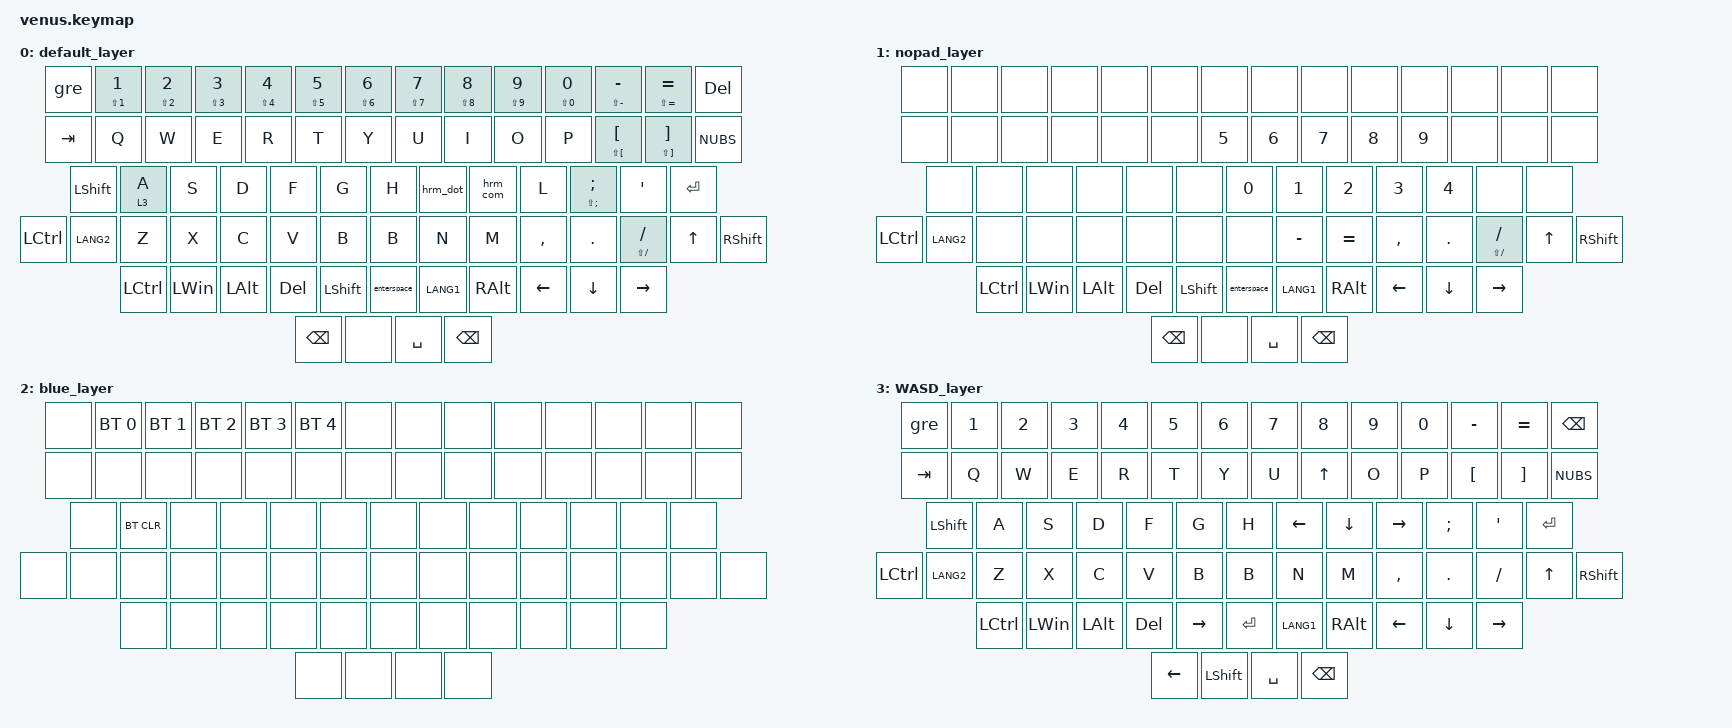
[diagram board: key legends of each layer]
#include <behaviors.dtsi>
#include <dt-bindings/zmk/keys.h>
#include <dt-bindings/zmk/bt.h>
#include <dt-bindings/zmk/outputs.h>

#define DEFAULT 0

&mt {
    tapping-term-ms = <140>;
};

&lt {
    tapping-term-ms = <200>;
};

/ { 
combos {
    compatible = "zmk,combos";
        combo_space {
            timeout-ms = <50>;
            key-positions = <61 70>;
            bindings = <&kp SPACE>;
        };
        combo_bt {
            timeout-ms = <50>;
            key-positions = <0 14>;
            bindings = <&tog 2>;
        };
        combo_Rpara {
            timeout-ms = <50>;
            key-positions = <31 32>;
            bindings = <&kp RPAR>;
        };
        combo_hash {
            timeout-ms = <50>;
            key-positions = <16 17>;
            bindings = <&hashdash>;
        };
        combo_Lpara {
            timeout-ms = <50>;
            key-positions = <29 30>;
            bindings = <&kp LPAR>;
        };
        combo_num {
            timeout-ms = <50>;
            key-positions = <30 31>;
            bindings = <&mo 1>;
        };
        hr_space {
            timeout-ms = <50>;
            key-positions = <35 36>;
            bindings = <&kp SPACE>;
        };
        hr_enter {
            timeout-ms = <50>;
            key-positions = <37 38>;
            bindings = <&kp ENTER>;
        };
        hr2_enter {
            timeout-ms = <50>;
            key-positions = <17 18>;
            bindings = <&kp ENTER>;
        };
        hr_bkps {
            timeout-ms = <50>;
            key-positions = <36 37>;
            bindings = <&thumblang>;
        };
        hr_shft {
            timeout-ms = <50>;
            key-positions = <18 19>;
            bindings = <&sk LSHFT>;
        };
        hr_lang1 {
            timeout-ms = <50>;
            key-positions = <21 22>;
            bindings = <&kp LANG1>;
        };
        hr2_lang1 {
            timeout-ms = <50>;
            key-positions = <36 61>;
            bindings = <&kp LANG1>;
        };
    };               


behaviors {
    gre: grave_esc {
            compatible = "zmk,behavior-tap-dance";
            label = "TAP_DANCE";
            #binding-cells = <0>;
            tapping-term-ms = <140>;
            bindings = <&mt LS(GRAVE) GRAVE>, <&kp ESC>;
        };
    enterspace: enterspace {
            compatible = "zmk,behavior-tap-dance";
            label = "TAP_DANCE_MOD_TAP";
            #binding-cells = <0>;
            tapping-term-ms = <150>;
            bindings = <&spaceback>, <&kp ENTER>;
        };
    spaceback: spaceback {
            compatible = "zmk,behavior-mod-morph";
            label = "spaceback";
            #binding-cells = <0>;
            bindings = <&kp SPACE>, <&mt LC(BACKSPACE) BACKSPACE>;
            mods = <MOD_LSFT>;
        };          
    hashdash: hash_dash {
            compatible = "zmk,behavior-tap-dance";
            label = "hashdash";
            #binding-cells = <0>;
            tapping-term-ms = <250>;
            bindings = <&kp HASH>, <&kp MINUS>;
        };
    hrm_dot: jtodot {
            compatible = "zmk,behavior-tap-dance";
            label = "jtodot";
            #binding-cells = <0>;
            tapping-term-ms = <250>;
            bindings = <&kp J>, <&kp DOT>;
        };
    hrm_com: ktocom {
            compatible = "zmk,behavior-tap-dance";
            label = "ktocom";
            #binding-cells = <0>;
            tapping-term-ms = <250>;
            bindings = <&kp K>, <&kp COMMA>;
        };
    hrm_lang1: ftolang {
            compatible = "zmk,behavior-tap-dance";
            label = "ftolang";
            #binding-cells = <0>;
            tapping-term-ms = <200>;
            bindings = <&kp H>, <&kp LANG1>;
        };    
    thumblang: thumblang {
            compatible = "zmk,behavior-mod-morph";
            label = "thumblang";
            #binding-cells = <0>;
            bindings = <&kp BACKSPACE>, <&kp DELETE>;
            mods = <MOD_LSFT>;
        };   
    hotab: behavior_hotab {
            compatible = "zmk,behavior-hold-tap";
            label = "hotab";
            #binding-cells = <2>;
            flavor = "tap-preferred";
            tapping-term-ms = <150>;
            bindings = <&kp>, <&kp>;
        };
    };

    keymap {
        compatible = "zmk,keymap";
        default_layer {
            bindings = <
&gre         &mt LS(N1) N1     &mt LS(N2) N2    &mt LS(N3) N3   &mt LS(N4) N4   &mt LS(N5) N5                         &mt LS(N6) N6     &mt LS(N7) N7    &mt LS(N8) N8   &mt LS(N9) N9     &mt LS(N0) N0    &mt LS(MINUS) MINUS  &mt LS(EQUAL) EQUAL  &kp DELETE
&kp TAB      &kp Q     &kp W     &kp E     &kp R     &kp T                           &kp Y      &kp U     &kp I    &kp O      &kp P      &mt LS(LBKT)  LBKT    &mt LS(RBKT) RBKT  &kp NUBS
&kp LSHFT    &lt 3 A      &kp S     &kp D  &kp F   &kp G                          &kp H      &hrm_dot     &hrm_com    &kp L      &mt LS(SEMI) SEMI   &kp SQT    &kp ENTER
&kp LCTRL    &kp LANG2  &kp Z     &kp X    &kp C    &kp V         &kp B         &kp B      &kp N     &kp M    &kp COMMA  &kp DOT   &mt LS(SLASH) SLASH   &kp UP     &kp RSHFT
&kp LCTRL    &kp LWIN   &kp LALT                    &kp DELETE     &kp LSHFT       &enterspace &kp LANG1         &kp RALT   &kp LEFT  &kp DOWN   &kp RIGHT
                                                    &kp BACKSPACE     &none        &kp SPACE  &kp BACKSPACE
            >;
        };

        nopad_layer {
            bindings = <
&none     &none     &none     &none    &none   &none                                                     &none    &none   &none   &none    &none   &none   &none   &none
&none     &none     &none    &none   &none   &none                                                           &kp N5     &kp N6  &kp N7 &kp N8   &kp N9    &none   &none   &none
&none    &none     &none    &none   &none   &none                                                       &kp N0    &kp N1    &kp N2   &kp N3   &kp N4   &none   &none
&kp LCTRL    &kp LANG2  &none     &none     &none    &none   &none   &none   &kp MINUS  &kp EQUAL   &kp COMMA  &kp DOT   &mt LS(SLASH) SLASH   &kp UP     &kp RSHFT
&kp LCTRL    &kp LWIN   &kp LALT                    &kp DELETE      &kp LSHFT    &enterspace &kp LANG1         &kp RALT   &kp LEFT  &kp DOWN   &kp RIGHT
                                                    &kp BACKSPACE     &none        &kp SPACE  &kp BACKSPACE

            >;
        };

        blue_layer {
            bindings = <
&none   &bt BT_SEL 0    &bt BT_SEL 1   &bt BT_SEL 2   &bt BT_SEL 3   &bt BT_SEL 4                            &none    &none   &none   &none    &none   &none   &none   &none
&none     &none     &none    &none   &none   &none                                                           &none     &none    &none   &none   &none    &none   &none   &none
&none    &bt BT_CLR     &none    &none   &none   &none                                                       &none     &none    &none   &none   &none   &none   &none
&none    &none   &none    &none   &none   &none    &none                                              &none     &none    &none   &none   &none   &none   &none    &none
&none   &none    &none                     &none   &none                                       &none    &none                                      &none   &none   &none   &none
                                                &none   &none                                     &none    &none

            >;
        };
        WASD_layer {
            bindings = <
&gre         &kp N1     &kp N2    &kp N3   &kp N4   &kp N5                         &kp N6     &kp N7    &kp N8   &kp N9     &kp N0    &kp MINUS  &kp EQUAL  &kp BACKSPACE
&kp TAB      &kp Q      &kp W     &kp E    &kp R    &kp T                          &kp Y      &kp U     &kp UP    &kp O      &kp P     &kp LBKT   &kp RBKT   &kp NUBS
&kp LSHFT     &kp A      &kp S     &kp D    &kp F    &kp G                          &kp H      &kp LEFT     &kp DOWN    &kp RIGHT      &kp SEMI  &kp SQT    &kp ENTER
&kp LCTRL    &kp LANG2  &kp Z     &kp X    &kp C    &kp V         &kp B         &kp B      &kp N     &kp M    &kp COMMA  &kp DOT   &kp SLASH  &kp UP     &kp RSHFT
&kp LCTRL    &kp LWIN   &kp LALT                    &kp DELETE      &kp RIGHT        &kp ENTER  &kp LANG1         &kp RALT   &kp LEFT  &kp DOWN   &kp RIGHT
                                                    &kp LEFT    &kp LSHFT        &kp SPACE  &kp BACKSPACE
            >;
        };
    };
}; 
